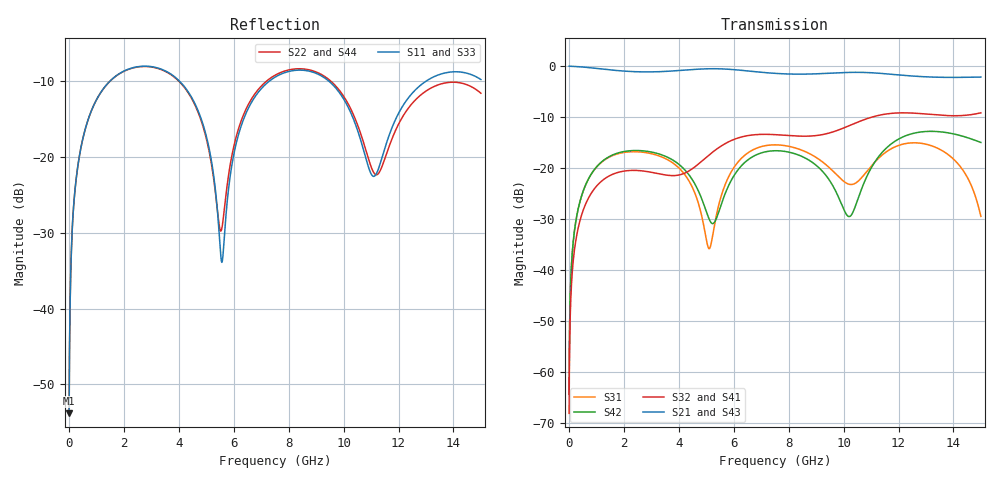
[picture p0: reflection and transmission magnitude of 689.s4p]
! Created with skrf 1.8.0 (http://scikit-rf.org).
# GHz S RI R 50.0
!freq ReS11 ImS11 ReS12 ImS12 ReS13 ImS13
! ReS14 ImS14
! ReS21 ImS21 ReS22 ImS22 ReS23 ImS23
! ReS24 ImS24
! ReS31 ImS31 ReS32 ImS32 ReS33 ImS33
! ReS34 ImS34
! ReS41 ImS41 ReS42 ImS42 ReS43 ImS43
! ReS44 ImS44
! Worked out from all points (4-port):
!   2499 points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, 5 MHz to 15 GHz, reference 50 ohm
!   strongest paths, dB at 5 MHz, 3.476 GHz, 7.19 GHz, 11.1 GHz, 15 GHz:
!     S21: 0.0, -1.1, -1.3, -1.3, -2.2
!     S43: 0.0, -1.0, -1.3, -1.3, -2.1
!     S32: -68.2, -21.3, -13.4, -9.9, -9.2
!     S41: -68.2, -21.4, -13.4, -9.9, -9.2
!     S42: -64.4, -17.6, -16.8, -19.2, -15.0
!     S31: -64.4, -18.1, -15.6, -19.1, -29.5
!   lowest |S11| = -53.8 dB at 5 MHz (marker M1), VSWR 1.00, Z = 50.2 + j0.124 ohm
!   |S11| at or under -10 dB: start of sweep to 1.482 GHz; 4.033 GHz to 7.283 GHz (3.25 GHz wide, 57.4 % of centre); 9.474 GHz to 12.99 GHz (3.517 GHz wide, 31.3 % of centre)
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0.005  0.00162 0.00124  0.9983 -0.00315  7.98e-05 0.0006  -7.78e-05 -0.000383
       0.9983 -0.00315  0.00162 0.00124  -7.78e-05 -0.000383  7.99e-05 0.0006
       7.98e-05 0.0006  -7.78e-05 -0.000383  0.00162 0.00124  0.9983 -0.00315
       -7.78e-05 -0.000383  7.99e-05 0.0006  0.9983 -0.00315  0.00162 0.00124
0.3626511  0.0296 0.0929  0.9594 -0.2259  0.0129 0.0407  -0.011 -0.0254
           0.9594 -0.2259  0.0295 0.093  -0.0111 -0.0254  0.0135 0.0406
           0.0129 0.0407  -0.0111 -0.0254  0.0296 0.0929  0.9594 -0.2259
           -0.011 -0.0254  0.0135 0.0406  0.9594 -0.2259  0.0295 0.093
1.67  0.2922 0.1722  0.5063 -0.7548  0.1233 0.0551  -0.0884 0.000275
      0.5063 -0.7548  0.2901 0.1738  -0.0884 0.00033  0.1289 0.0466
      0.1233 0.0551  -0.0884 0.00033  0.2921 0.1722  0.5063 -0.7548
      -0.0884 0.000275  0.1289 0.0466  0.5063 -0.7548  0.2901 0.1737
5.564819  0.0202 -0.0015  -0.9377 -0.0449  0.0295 0.0469  -0.00366 0.1657
          -0.9377 -0.0449  0.0329 0.00746  -0.00273 0.1657  -0.0172 0.0421
          0.0295 0.0469  -0.00273 0.1657  0.0205 -0.000549  -0.9377 -0.0447
          -0.00366 0.1657  -0.0172 0.0421  -0.9377 -0.0447  0.0324 0.00846
8.578574  0.3729 -0.0245  0.00925 0.834  0.1059 -0.1002  0.1981 -0.0518
          0.00925 0.834  0.3799 -0.0338  0.198 -0.0535  0.1041 -0.0712
          0.1059 -0.1002  0.198 -0.0535  0.3742 -0.025  0.00856 0.8334
          0.1981 -0.0518  0.1041 -0.0712  0.00856 0.8334  0.3817 -0.0328
11.37349  0.0853 0.0437  0.8472 -0.0129  -0.00301 0.1317  -0.0171 -0.3317
          0.8472 -0.0129  0.082 0.0205  -0.0201 -0.3319  0.0551 0.1278
          -0.00301 0.1317  -0.0201 -0.3319  0.0835 0.0387  0.8475 -0.00987
          -0.0171 -0.3317  0.0551 0.1278  0.8475 -0.00987  0.0834 0.0164
15  0.2999 -0.1261  -0.2967 -0.7216  0.00231 -0.0334  -0.3166 0.1423
    -0.2967 -0.7216  0.2539 -0.0732  -0.3151 0.1472  -0.0426 -0.1729
    0.00231 -0.0334  -0.3151 0.1472  0.2935 -0.1248  -0.296 -0.7241
    -0.3166 0.1423  -0.0426 -0.1729  -0.296 -0.7241  0.249 -0.0699
